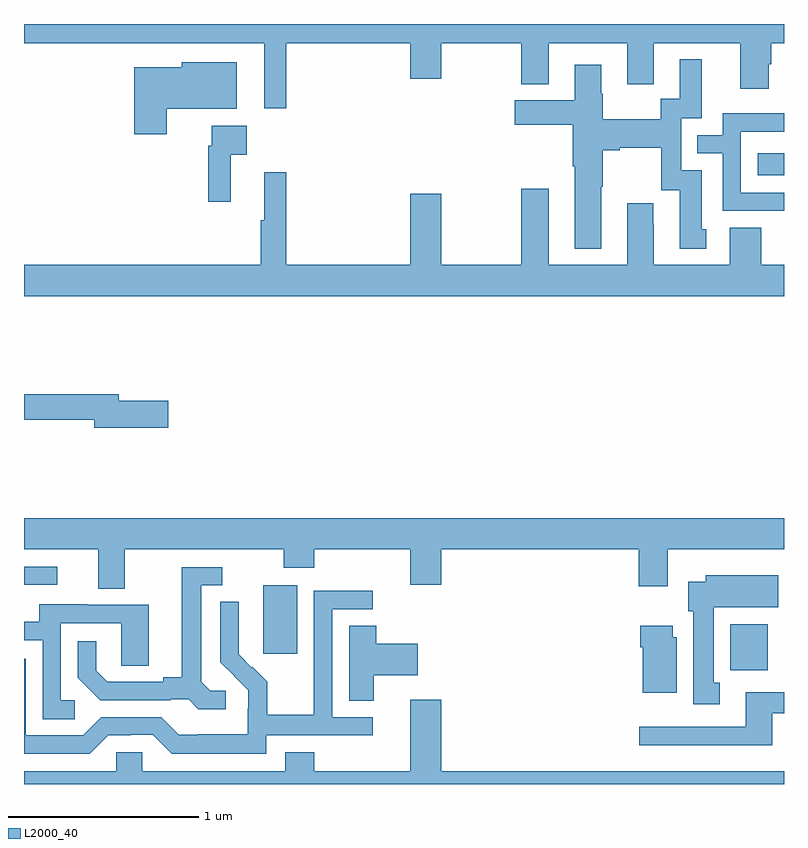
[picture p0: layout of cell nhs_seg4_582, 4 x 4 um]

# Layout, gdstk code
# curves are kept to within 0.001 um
import gdstk
lib = gdstk.Library(unit=1e-6, precision=1e-09)
def R(c, l, rs):  # rectangles x0, y0, x1, y1
    for r in rs: c.add(gdstk.rectangle(r[:2], r[2:], *l))
def P(c, l, *ps):  # polygons
    for p in ps: c.add(gdstk.Polygon(p, *l))
L2000_40 = (2000, 40)

nhs_seg4_582 = lib.new_cell('nhs_seg4_582')
R(nhs_seg4_582, L2000_40, [(142.718,813.5,142.915,813.742), (140.258,813.585,140.437,813.946), (139,813.948,139.174,814.044), (142.863,816.105,143,816.22)])
P(nhs_seg4_582, L2000_40, [(142.175,816.582),(142.315,816.582),(142.315,816.8),(142.769,816.8),(142.769,816.558),(142.921,816.558),(142.921,816.687),(142.934,816.687),(142.934,816.8),(143,816.8),(143,816.9),(139,816.9),(139,816.8),(140.264,816.8),(140.264,816.456),(140.381,816.456),(140.381,816.8),(141.032,816.8),(141.032,816.612),(141.196,816.612),(141.196,816.8),(141.616,816.8),(141.616,816.584),(141.763,816.584),(141.763,816.8),(142.175,816.8)],
  [(142.039,816.043),(142.047,816.043),(142.047,816.236),(142.135,816.236),(142.135,816.248),(142.355,816.248),(142.355,816.024),(142.451,816.024),(142.451,815.718),(142.591,815.718),(142.591,815.82),(142.567,815.82),(142.567,816.129),(142.458,816.129),(142.458,816.405),(142.567,816.405),(142.567,816.715),(142.451,816.715),(142.451,816.506),(142.35,816.506),(142.35,816.4),(142.047,816.4),(142.047,816.534),(142.039,816.534),(142.039,816.685),(141.899,816.685),(141.899,816.499),(141.582,816.499),(141.582,816.37),(141.887,816.37),(141.887,816.152),(141.899,816.152),(141.899,815.717),(142.039,815.717)],
  [(139.75,816.455),(140.119,816.455),(140.119,816.7),(139.83,816.7),(139.83,816.673),(139.58,816.673),(139.58,816.321),(139.75,816.321)],
  [(143,816.012),(142.773,816.012),(142.773,816.333),(143,816.333),(143,816.429),(142.677,816.429),(142.677,816.315),(142.543,816.315),(142.543,816.219),(142.677,816.219),(142.677,815.916),(143,815.916)],
  [(140.087,816.212),(140.173,816.212),(140.173,816.364),(139.989,816.364),(139.989,816.26),(139.969,816.26),(139.969,815.964),(140.087,815.964)],
  [(143,815.632),(142.879,815.632),(142.879,815.827),(142.715,815.827),(142.715,815.632),(142.315,815.632),(142.315,815.843),(142.312,815.843),(142.312,815.956),(142.175,815.956),(142.175,815.632),(141.763,815.632),(141.763,816.034),(141.616,816.034),(141.616,815.632),(141.196,815.632),(141.196,816.007),(141.032,816.007),(141.032,815.632),(140.381,815.632),(140.381,816.121),(140.264,816.121),(140.264,815.868),(140.245,815.868),(140.245,815.632),(139,815.632),(139,815.468),(143,815.468)],
  [(139.759,814.916),(139.498,814.916),(139.498,814.952),(139,814.952),(139,814.816),(139.37,814.816),(139.37,814.774),(139.759,814.774)],
  [(139.531,814.136),(140.368,814.136),(140.368,814.037),(140.528,814.037),(140.528,814.136),(141.032,814.136),(141.032,813.948),(141.196,813.948),(141.196,814.136),(142.235,814.136),(142.235,813.942),(142.387,813.942),(142.387,814.136),(143,814.136),(143,814.3),(139,814.3),(139,814.136),(139.391,814.136),(139.391,813.928),(139.531,813.928)],
  [(140.062,813.39),(139.98,813.39),(139.933,813.437),(139.933,813.945),(140.044,813.945),(140.044,814.041),(139.829,814.041),(139.829,813.461),(139.733,813.461),(139.733,813.438),(139.438,813.438),(139.381,813.495),(139.381,813.652),(139.284,813.652),(139.284,813.458),(139.4,813.342),(139.772,813.342),(139.772,813.345),(139.866,813.345),(139.918,813.293),(140.062,813.293)],
  [(142.663,813.434),(142.63,813.434),(142.63,813.83),(142.969,813.83),(142.969,814),(142.589,814),(142.589,813.964),(142.496,813.964),(142.496,813.81),(142.523,813.81),(142.523,813.321),(142.663,813.321)],
  [(140.274,813.156),(140.836,813.156),(140.836,813.252),(140.622,813.252),(140.622,813.819),(140.836,813.819),(140.836,813.918),(140.526,813.918),(140.526,813.488),(140.524,813.488),(140.524,813.265),(140.279,813.265),(140.279,813.439),(140.202,813.516),(140.199,813.513),(140.129,813.584),(140.13,813.86),(140.034,813.86),(140.034,813.542),(140.18,813.394),(140.18,813.297),(140.178,813.297),(140.178,813.163),(139.915,813.163),(139.915,813.159),(139.815,813.159),(139.722,813.252),(139.407,813.252),(139.311,813.156),(139.008,813.156),(139.008,813.558),(139,813.558),(139,813.06),(139.347,813.06),(139.443,813.156),(139.562,813.156),(139.562,813.159),(139.677,813.159),(139.777,813.059),(140.274,813.059)],
  [(139.267,813.342),(139.194,813.342),(139.194,813.747),(139.512,813.747),(139.512,813.523),(139.657,813.523),(139.657,813.843),(139.333,813.843),(139.333,813.847),(139.079,813.847),(139.079,813.753),(139,813.753),(139,813.657),(139.098,813.657),(139.098,813.241),(139.267,813.241)],
  [(140.842,813.473),(141.073,813.473),(141.073,813.639),(140.855,813.639),(140.855,813.734),(140.711,813.734),(140.711,813.337),(140.842,813.337)],
  [(142.435,813.672),(142.414,813.672),(142.414,813.733),(142.244,813.733),(142.244,813.62),(142.256,813.62),(142.256,813.38),(142.435,813.38)],
  [(142.939,813.273),(143,813.273),(143,813.382),(142.799,813.382),(142.799,813.201),(142.239,813.201),(142.239,813.104),(142.939,813.104)],
  [(141.032,813.343),(141.032,812.968),(140.528,812.968),(140.528,813.067),(140.375,813.067),(140.375,812.968),(139.623,812.968),(139.623,813.066),(139.485,813.066),(139.485,812.968),(139,812.968),(139,812.9),(143,812.9),(143,812.968),(141.196,812.968),(141.196,813.343)])

lib.write_gds('nhs_seg4_582.gds')
